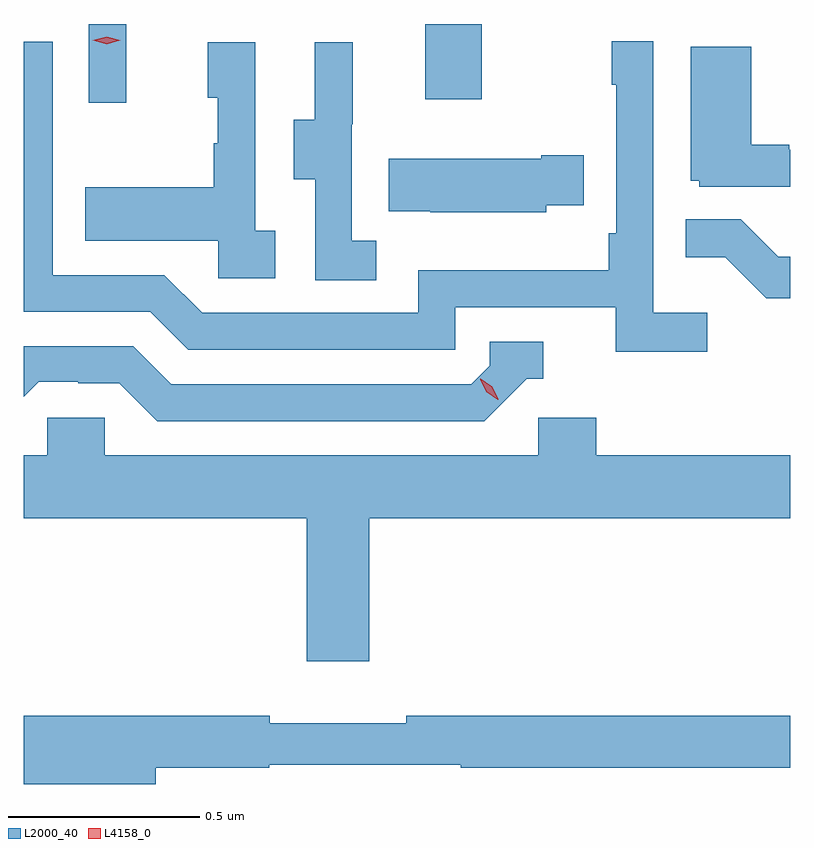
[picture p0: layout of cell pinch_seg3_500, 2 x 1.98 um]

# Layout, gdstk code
import gdstk
lib = gdstk.Library(unit=1e-6, precision=1e-09)
def R(c, l, rs):  # rectangles x0, y0, x1, y1
    for r in rs: c.add(gdstk.rectangle(r[:2], r[2:], *l))
def P(c, l, *ps):  # polygons
    for p in ps: c.add(gdstk.Polygon(p, *l))
L2000_40 = (2000, 40)
L4158_0 = (4158, 0)

pinch_seg3_500 = lib.new_cell('pinch_seg3_500')
R(pinch_seg3_500, L2000_40, [(991.611,678.024,991.709,678.229), (992.489,678.033,992.637,678.229)])
P(pinch_seg3_500, L2000_40, [(993.226,677.476),(993.084,677.476),(993.084,678.184),(992.976,678.184),(992.976,678.071),(992.988,678.071),(992.988,677.683),(992.968,677.683),(992.968,677.587),(992.472,677.587),(992.472,677.475),(991.908,677.475),(991.809,677.574),(991.518,677.574),(991.518,678.183),(991.442,678.183),(991.442,677.478),(991.772,677.478),(991.871,677.379),(992.568,677.379),(992.568,677.49),(992.987,677.49),(992.987,677.374),(993.226,677.374)],
  [(992.362,677.663),(992.298,677.663),(992.298,677.967),(992.3,677.967),(992.3,678.181),(992.201,678.181),(992.201,677.979),(992.147,677.979),(992.147,677.824),(992.202,677.824),(992.202,677.56),(992.362,677.56)],
  [(992.098,677.69),(992.046,677.69),(992.046,678.181),(991.922,678.181),(991.922,678.036),(991.948,678.036),(991.948,677.918),(991.938,677.918),(991.938,677.803),(991.603,677.803),(991.603,677.663),(991.95,677.663),(991.95,677.565),(992.098,677.565)],
  [(993.442,677.901),(993.44,677.901),(993.44,677.914),(993.34,677.914),(993.34,678.169),(993.182,678.169),(993.182,677.82),(993.204,677.82),(993.204,677.805),(993.442,677.805)],
  [(992.805,677.756),(992.903,677.756),(992.903,677.886),(992.792,677.886),(992.792,677.878),(992.395,677.878),(992.395,677.741),(992.503,677.741),(992.503,677.738),(992.805,677.738)],
  [(993.442,677.622),(993.411,677.622),(993.313,677.72),(993.169,677.72),(993.169,677.621),(993.273,677.621),(993.38,677.514),(993.442,677.514)],
  [(992.754,677.304),(992.797,677.304),(992.797,677.4),(992.658,677.4),(992.658,677.337),(992.61,677.289),(991.827,677.289),(991.728,677.388),(991.442,677.388),(991.442,677.256),(991.481,677.295),(991.584,677.295),(991.584,677.292),(991.691,677.292),(991.79,677.193),(992.643,677.193)],
  [(992.344,676.94),(993.442,676.94),(993.442,677.104),(992.936,677.104),(992.936,677.202),(992.784,677.202),(992.784,677.104),(991.653,677.104),(991.653,677.202),(991.503,677.202),(991.503,677.104),(991.442,677.104),(991.442,676.94),(992.18,676.94),(992.18,676.566),(992.344,676.566)],
  [(991.786,676.288),(992.082,676.288),(992.082,676.296),(992.582,676.296),(992.582,676.288),(993.442,676.288),(993.442,676.424),(992.44,676.424),(992.44,676.405),(992.084,676.405),(992.084,676.424),(991.442,676.424),(991.442,676.246),(991.786,676.246)])
P(pinch_seg3_500, L4158_0, [(992.679,677.249),(992.649,677.269),(992.633,677.302),(992.633,677.303),(992.634,677.303),(992.664,677.283),(992.68,677.25),(992.68,677.249)],
  [(991.658,678.176),(991.622,678.186),(991.622,678.186),(991.622,678.186),(991.658,678.196),(991.694,678.186),(991.694,678.186),(991.694,678.186)])

lib.write_gds('pinch_seg3_500.gds')
